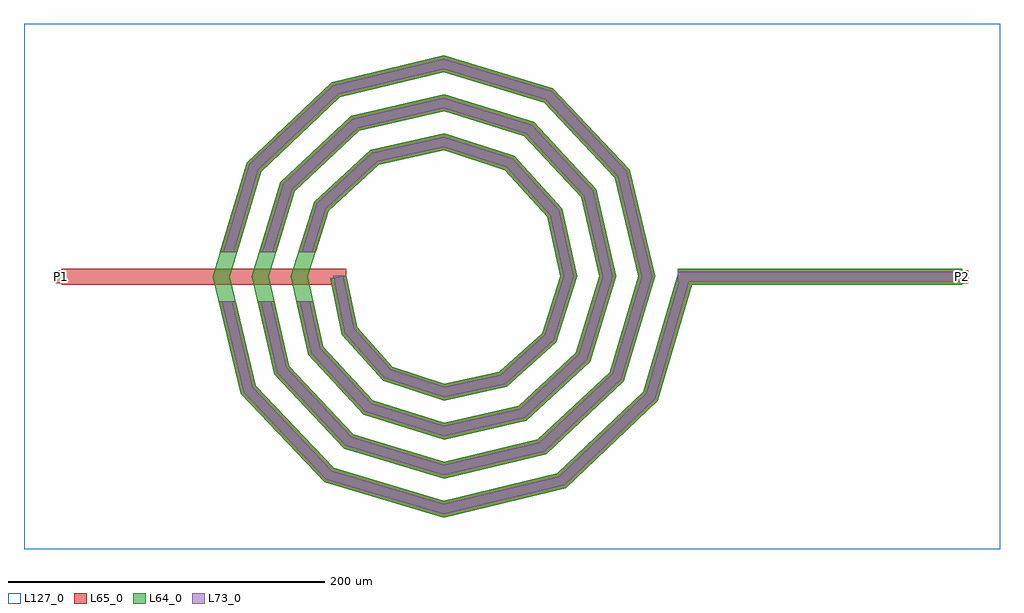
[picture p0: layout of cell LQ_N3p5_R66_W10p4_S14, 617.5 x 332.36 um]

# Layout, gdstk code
import gdstk
lib = gdstk.Library(unit=1e-6, precision=1e-09)
def R(c, l, rs):  # rectangles x0, y0, x1, y1
    for r in rs: c.add(gdstk.rectangle(r[:2], r[2:], *l))
def P(c, l, *ps):  # polygons
    for p in ps: c.add(gdstk.Polygon(p, *l))
L64_0 = (64, 0)
L65_0 = (65, 0)
L73_0 = (73, 0)
L127_0 = (127, 0)

lq_n3p5_r66_w10p4_s14 = lib.new_cell('LQ_N3p5_R66_W10p4_S14')
R(lq_n3p5_r66_w10p4_s14, L64_0, [(147.938,-5.2,327.938,5.2)])
P(lq_n3p5_r66_w10p4_s14, L64_0, [(-54.789,-31.979),(-32.495,-56.865),(0.283,-67.551),(35.042,-60.144),(62.196,-35.6),(73.72,0.261),(65.497,38.108),(38.701,67.529),(0.242,79.889),(-41.177,70.849),(-72.863,41.801),(-86.059,0.226),(-76.199,-44.249),(-44.899,-78.199),(0.212,-92.228),(47.322,-81.549),(83.535,-47.995),(98.398,0.199),(86.898,50.396),(51.09,88.873),(0.188,104.567),(-53.472,92.247),(-94.211,54.183),(-110.737,0.178),(-97.595,-56.548),(-57.276,-99.549),(0.169,-116.907),(59.626,-102.942),(104.888,-60.369),(123.077,0.161),(108.29,62.704),(63.46,110.228),(0.153,129.247),(-65.782,113.636),(-115.567,66.551),(-135.416,0.147),(-118.983,-68.862),(-69.641,-120.907),(0.141,-141.586),(71.941,-124.329),(126.248,-72.731),(148.151,1.472),(158.125,-1.472),(135.433,-78.35),(77.083,-133.789),(0.141,-152.35),(-75.27,-130.087),(-128.449,-73.993),(-146.18,0.147),(-124.74,72.19),(-70.902,123.109),(0.153,140.01),(69.111,119.393),(117.769,67.811),(133.839,0.161),(114.045,-66.033),(64.719,-112.429),(0.169,-127.669),(-62.955,-108.698),(-107.09,-61.626),(-121.499,0.178),(-103.349,59.878),(-58.533,101.751),(0.188,115.329),(56.802,98.001),(96.413,55.439),(109.158,0.199),(92.651,-53.726),(52.343,-91.075),(0.212,-102.988),(-50.653,-87.301),(-85.738,-49.246),(-96.817,0.226),(-81.949,47.58),(-46.147,80.402),(0.242,90.647),(44.51,76.597),(75.067,43.046),(84.476,0.261),(71.243,-41.442),(39.943,-69.733),(0.283,-78.305),(-38.376,-65.887),(-64.401,-36.836),(-71.849,-1.06),(-61.667,1.06)])
R(lq_n3p5_r66_w10p4_s14, L65_0, [(-241.558,-5.2,-61.558,5.2), (147.938,-5.2,327.938,5.2), (-245.558,-4,-237.558,4), (323.938,-4,331.938,4)])
P(lq_n3p5_r66_w10p4_s14, L65_0, [(-118.983,-68.862),(-69.641,-120.908),(0.141,-141.586),(71.942,-124.329),(126.248,-72.731),(148.151,1.472),(158.125,-1.472),(135.433,-78.35),(77.083,-133.79),(0.141,-152.35),(-75.27,-130.087),(-128.449,-73.993),(-142.414,-15.6),(-131.721,-15.6)],
  [(-97.595,-56.548),(-57.276,-99.549),(0.169,-116.907),(59.626,-102.942),(104.888,-60.369),(123.077,0.161),(108.29,62.704),(63.46,110.228),(0.153,129.247),(-65.782,113.636),(-115.567,66.551),(-130.73,15.6),(-141.581,15.6),(-124.74,72.191),(-70.902,123.109),(0.153,140.01),(69.111,119.393),(117.769,67.811),(133.839,0.161),(114.046,-66.033),(64.719,-112.429),(0.169,-127.669),(-62.955,-108.698),(-107.09,-61.627),(-117.82,-15.6),(-107.142,-15.6)],
  [(-76.199,-44.249),(-44.899,-78.199),(0.212,-92.228),(47.322,-81.549),(83.535,-47.995),(98.398,0.199),(86.898,50.396),(51.09,88.873),(0.188,104.567),(-53.472,92.247),(-94.211,54.183),(-105.94,15.6),(-116.81,15.6),(-103.349,59.878),(-58.533,101.751),(0.188,115.329),(56.802,98.001),(96.413,55.439),(109.158,0.199),(92.651,-53.727),(52.343,-91.075),(0.212,-102.988),(-50.653,-87.301),(-85.738,-49.246),(-93.273,-15.6),(-82.615,-15.6)],
  [(-32.495,-56.865),(0.283,-67.551),(35.042,-60.144),(62.196,-35.6),(73.72,0.261),(65.497,38.108),(38.701,67.529),(0.242,79.889),(-41.178,70.849),(-72.863,41.801),(-81.09,15.6),(-91.99,15.6),(-81.949,47.58),(-46.147,80.402),(0.242,90.647),(44.51,76.597),(75.067,43.046),(84.476,0.261),(71.243,-41.442),(39.943,-69.733),(0.283,-78.305),(-38.376,-65.887),(-64.401,-36.836),(-71.849,-1.06),(-61.667,1.06),(-54.789,-31.979)])
R(lq_n3p5_r66_w10p4_s14, L73_0, [(147.938,-3.2,327.938,3.2)])
P(lq_n3p5_r66_w10p4_s14, L73_0, [(-120.803,-69.849),(-70.724,-122.673),(0.087,-143.656),(72.93,-126.148),(128.014,-73.812),(150.069,0.906),(156.207,0.906),(133.667,-77.27),(76.095,-131.97),(0.087,-150.28),(-74.188,-128.321),(-126.629,-73.006),(-140.358,-15.6),(-133.777,-15.6)],
  [(-99.421,-57.525),(-58.368,-101.309),(0.104,-118.977),(60.605,-104.767),(106.649,-61.458),(125.146,0.099),(110.112,63.686),(64.547,111.99),(0.094,131.316),(-66.767,115.458),(-117.331,67.636),(-132.817,15.6),(-139.494,15.6),(-122.976,71.106),(-69.918,121.287),(0.094,137.94),(68.025,117.63),(115.946,66.829),(131.77,0.099),(112.284,-64.944),(63.74,-110.605),(0.104,-125.6),(-61.863,-106.938),(-105.264,-60.65),(-115.767,-15.6),(-109.195,-15.6)],
  [(-78.034,-45.21),(-46.005,-79.949),(0.13,-94.297),(48.287,-83.381),(85.288,-49.097),(100.467,0.123),(88.728,51.366),(52.188,90.628),(0.116,106.637),(-54.445,94.075),(-95.968,55.279),(-108.031,15.6),(-114.72,15.6),(-101.592,58.783),(-57.56,99.923),(0.116,113.259),(55.703,96.245),(94.583,54.469),(107.089,0.123),(90.898,-52.624),(51.377,-89.243),(0.13,-100.919),(-49.546,-85.55),(-83.904,-48.285),(-91.223,-15.6),(-84.665,-15.6)],
  [(-33.626,-58.6),(0.174,-69.619),(35.984,-61.988),(63.936,-36.723),(75.788,0.161),(67.337,39.058),(39.818,69.273),(0.149,81.958),(-42.133,72.686),(-74.611,42.912),(-83.186,15.6),(-89.894,15.6),(-80.202,46.469),(-45.191,78.565),(0.149,88.578),(43.393,74.853),(73.226,42.097),(82.407,0.161),(69.503,-40.318),(39,-67.889),(0.174,-76.237),(-37.245,-64.152),(-62.553,-35.902),(-69.891,0.652),(-63.625,0.652),(-56.638,-32.913)])
R(lq_n3p5_r66_w10p4_s14, L127_0, [(-265.558,-172.35,351.938,160.01)])
lq_n3p5_r66_w10p4_s14.add(gdstk.Label('P2', (327.938,0), layer=65, texttype=0))
lq_n3p5_r66_w10p4_s14.add(gdstk.Label('P1', (-241.558,0), layer=65, texttype=0))
lq_n3p5_r66_w10p4_s14.add(gdstk.Label('P2', (331.938,0), layer=145, texttype=0))
lq_n3p5_r66_w10p4_s14.add(gdstk.Label('P1', (-245.558,0), layer=145, texttype=0))

lib.write_gds('LQ_N3p5_R66_W10p4_S14.gds')
